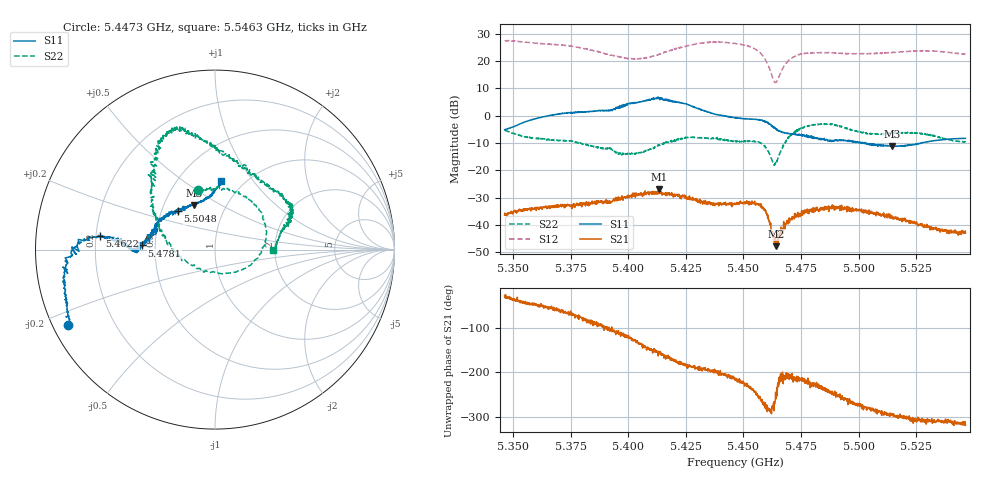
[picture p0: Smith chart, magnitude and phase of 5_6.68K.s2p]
# Hz  S  DB  R  50
! ADVANTEST Corporation R3860A
! Date: Wed Apr 11 19:53:05 2007
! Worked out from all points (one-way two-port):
!   1601 points, 5.3463 GHz to 5.5463 GHz, reference 50 ohm
!   highest |S21| = -26.86 dB at 5.4133 GHz (marker M1); lowest = -47.8 dB at 5.4642 GHz (marker M2)
!   lowest |S11| = -11.2 dB at 5.5143 GHz (marker M3), VSWR 1.76, Z = 35.2 + j18.9 ohm
!   |S11| at or under -10 dB: 5.501384 GHz to 5.501482 GHz (98.89 kHz wide, 0.0018 % of centre); 5.502363 GHz to 5.502625 GHz (261.3 kHz wide, 0.00475 % of centre); 5.502851 GHz to 5.527237 GHz (24.39 MHz wide, 0.442 % of centre) (the widest 3 of 6)
!   |S22| runs from -18.2 to -2.9 dB; largest |S21 - S12| = 24
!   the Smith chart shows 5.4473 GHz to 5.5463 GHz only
!   S11 on the Smith chart (normalised r, x): 5.4473 GHz: 0.04, -0.24; 5.4622 GHz: 0.22, +0.06; 5.4781 GHz: 0.42, +0.02; 5.5048 GHz: 0.61, +0.28; 5.5463 GHz: 0.79, +0.71
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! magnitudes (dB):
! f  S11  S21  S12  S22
! 5.3463 GHz  -5.1  -36.3  27.4  -5.3
! 5.3627 GHz  -0.5  -33.9  26.4  -8.4
! 5.3797 GHz  1.3  -33.0  24.8  -10.2
! 5.3981 GHz  4.0  -29.8  21.2  -13.9
! 5.4131 GHz  6.8  -27.2  22.3  -10.7
! 5.4133 GHz  6.7  -26.9  22.4  -10.7
! 5.4264 GHz  3.9  -30.1  25.8  -7.8
! 5.4463 GHz  -0.7  -32.4  26.5  -9.2
! 5.4473 GHz  -0.7  -32.2  26.4  -9.2
! 5.4571 GHz  -1.4  -32.8  23.2  -9.9
! 5.4597 GHz  -2.3  -34.7  20.3  -11.8
! 5.4622 GHz  -3.8  -41.9  15.2  -15.8
! 5.4642 GHz  -4.7  -47.8  12.3  -17.4
! 5.4697 GHz  -6.6  -38.4  20.4  -7.9
! 5.4781 GHz  -7.8  -35.5  22.9  -3.7
! 5.4797 GHz  -7.5  -34.4  23.0  -3.4
! 5.4882 GHz  -9.4  -33.2  23.2  -3.0
! 5.5048 GHz  -10.5  -35.0  22.8  -6.6
! 5.5131 GHz  -11.0  -37.0  23.1  -6.4
! 5.5143 GHz  -11.2  -36.6  23.2  -6.4
! 5.5264 GHz  -10.2  -39.9  23.9  -6.4
! 5.5463 GHz  -8.3  -43.0  22.5  -9.7
